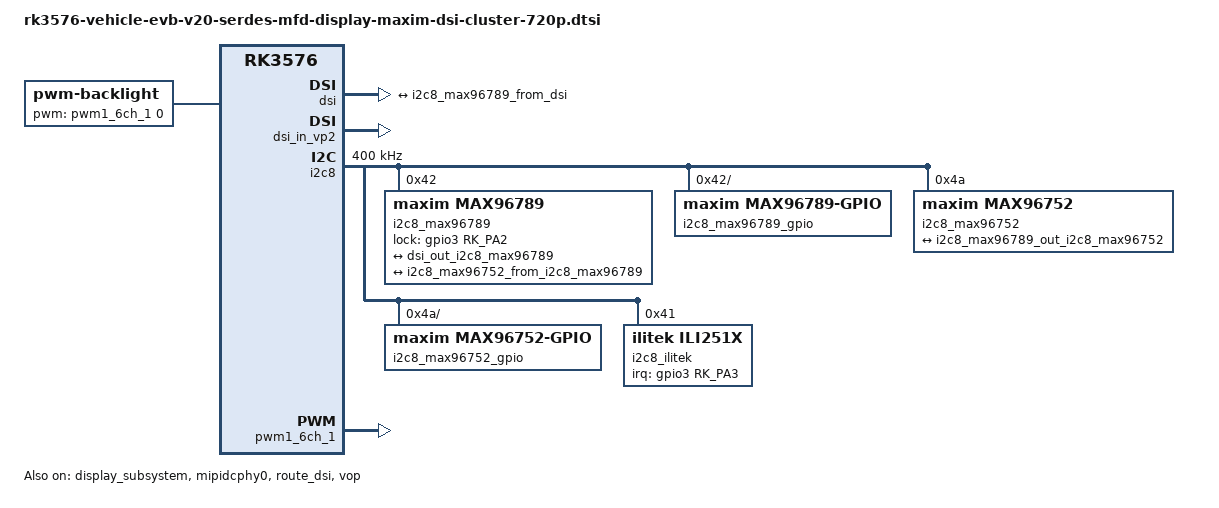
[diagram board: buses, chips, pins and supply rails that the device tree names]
// SPDX-License-Identifier: (GPL-2.0+ OR MIT)
/*
 * Copyright (c) 2025 Rockchip Electronics Co., Ltd.
 *
 */

/ {
	backlight: backlight {
		compatible = "pwm-backlight";
		pwms = <&pwm1_6ch_1 0 25000 0>;
		brightness-levels = <
			  0  20  20  21  21  22  22  23
			 23  24  24  25  25  26  26  27
			 27  28  28  29  29  30  30  31
			 31  32  32  33  33  34  34  35
			 35  36  36  37  37  38  38  39
			 40  41  42  43  44  45  46  47
			 48  49  50  51  52  53  54  55
			 56  57  58  59  60  61  62  63
			 64  65  66  67  68  69  70  71
			 72  73  74  75  76  77  78  79
			 80  81  82  83  84  85  86  87
			 88  89  90  91  92  93  94  95
			 96  97  98  99 100 101 102 103
			104 105 106 107 108 109 110 111
			112 113 114 115 116 117 118 119
			120 121 122 123 124 125 126 127
			128 129 130 131 132 133 134 135
			136 137 138 139 140 141 142 143
			144 145 146 147 148 149 150 151
			152 153 154 155 156 157 158 159
			160 161 162 163 164 165 166 167
			168 169 170 171 172 173 174 175
			176 177 178 179 180 181 182 183
			184 185 186 187 188 189 190 191
			192 193 194 195 196 197 198 199
			200 201 202 203 204 205 206 207
			208 209 210 211 212 213 214 215
			216 217 218 219 220 221 222 223
			224 225 226 227 228 229 230 231
			232 233 234 235 236 237 238 239
			240 241 242 243 244 245 246 247
			248 249 250 251 252 253 254 255
		>;
		default-brightness-level = <200>;
	    status = "okay";
	};
};

&display_subsystem {
	status = "okay";
};

/*
 * mipi_dcphy needs to be enabled
 * when dsi is enabled
 */
&dsi {
	status = "okay";

	ports {
		#address-cells = <1>;
		#size-cells = <0>;

		port@1 {
			reg = <1>;

			dsi_out_i2c8_max96789: endpoint {
				remote-endpoint = <&i2c8_max96789_from_dsi>;
			};
		};
	};
};

&dsi_in_vp2 {
	status = "okay";
};

&i2c8 {
	status = "okay";
	pinctrl-names = "default";
	pinctrl-0 = <&i2c8m2_xfer>;
	clock-frequency = <400000>;

	i2c8_max96789: i2c8-max96789@42 {
		compatible = "maxim,max96789";
		reg = <0x42>;
		pinctrl-names = "default";
		pinctrl-0 = <&i2c8_serdes_pins>;
		lock-gpios = <&gpio3 RK_PA2 GPIO_ACTIVE_HIGH>;
		sel-mipi;
		id-serdes-bridge-split = <0x01>;
		status = "okay";

		serdes-init-sequence = [
			//Independent 11_07_17-56 Using MAX96789/91/F (GMSL-1/2)
			//Disable Video pipe
			0002 0003
			//Set Stream for DSI Port A && assign pipeX
			0053 0010
			//Set Stream for DSI Port B && assign pipeY
			0057 0021
			//Clock Select, X for portA, Y/Z for PortB
			0308 0076
			//Start DSI-A Port
			0311 0001
			//Set Port A Lane Mapping
			0332 004E
			//Set Port B Lane Mapping
			0333 00E4
			//Set GMSL type
			0004 00F2
			//Number of Lanes
			0331 0033
			//Set phy_config
			0330 0006
			//Set soft_dtx_en
			031C 0098
			//Set soft_dtx
			0321 0024
			//Set soft_dty_en
			031D 0098
			//Set soft_dty_
			0322 0024
			//Init Default
			0326 00E4
			//HSYNC_WIDTH_L	 HSYNC=12
			0385 000C
			//VSYNC_WIDTH_L	 VSYNC=3
			0386 0003
			//HSYNC_WIDTH_H/VSYNC_WIDTH_H
			0387 0000
			//VFP_L	VFP=8
			03A5 0008
			//VBP_H
			03A7 0000
			//VBP_L/VFP_H VBP=5
			03A6 0050
			//VRES_L VRES=0X02D0=720
			03A8 00D0
			//VRES_H
			03A9 0002
			//HFP_L	 HFP=26
			03AA 001A
			//HBP_H
			03AC 0000
			//HBP_L/HFP_H(4bit)	HBP=12
			03AB 00C0
			//HRES_L HRES=0X0780=1920
			03AD 0080
			//HRES_H
			03AE 0007
			//Disable FIFO/DESKEW_EN
			03A4 00C1
			//Turn on video pipe
			0002 0033
			//Enable splitter mode  reset one shot
			0010 0021
			ffff f000	//0xf000 ms delay
		];

		i2c8_max96789_pinctrl: i2c8-max96789-pinctrl {
			compatible = "maxim,max96789-pinctrl";
			pinctrl-names = "init","sleep";
			pinctrl-0 = <&i2c8_max96789_pinctrl_pins>;
			pinctrl-1 = <&i2c8_max96789_pinctrl_pins>;
			status = "okay";
			i2c8_max96789_pinctrl_pins: pinctrl-pins {
				i2c {
					groups = "MAX96789_I2C";
					function = "MAX96789_I2C";
				};
				lcd-bl-pwm {
					pins = "MAX96789_MFP7";
					function = "SER_TXID4_TO_DES";
				};
				tp-int {
					pins = "MAX96789_MFP8";
					function = "DES_RXID8_TO_SER";
				};
			};

			i2c8_max96789_gpio: i2c8-max96789-gpio {
				compatible = "maxim,max96789-gpio";
				status = "okay";

				gpio-controller;
				#gpio-cells = <2>;
				gpio-ranges = <&i2c8_max96789_pinctrl 0 160 20>;
			};
		};

		i2c8_max96789_bridge: i2c8-max96789-bridge {
			compatible = "maxim,max96789-bridge";
			status = "okay";

			ports {
				#address-cells = <1>;
				#size-cells = <0>;

				port@0 {
					reg = <0>;
					i2c8_max96789_from_dsi: endpoint {
						remote-endpoint = <&dsi_out_i2c8_max96789>;
					};
				};

				port@1 {
					reg = <1>;
					i2c8_max96789_out_i2c8_max96752: endpoint {
						remote-endpoint = <&i2c8_max96752_from_i2c8_max96789>;
					};
				};
			};
		};

	};

	i2c8_max96752: i2c8-max96752@4a {
		compatible = "maxim,max96752";
		reg = <0x4a>;
		//reg-hw = <0x4a>;
		id-serdes-panel-split = <0x01>;
		link = <0x01>;
		status = "okay";

		serdes-init-sequence = [
			/*max96752 dual oLDI output*/
			0002 0043
			0073 0031
			007b 0031
			007d 0038

			0050 0000
			01ce 004e
			01ea 0004
		];

		i2c8_max96752_pinctrl: i2c8-max96752-pinctrl {
			compatible = "maxim,max96752-pinctrl";
			pinctrl-names = "init","sleep";
			pinctrl-0 = <&i2c8_max96752_panel_pins>;
			pinctrl-1 = <&i2c8_max96752_panel_sleep_pins>;
			status = "okay";

			i2c8_max96752_panel_pins: panel-pins {
				lcd-rst-pin {
					pins = "MAX96752_GPIO10";
					function = "DES_TXID10_OUTPUT_HIGH";
				};
				lcd-stbyb-pin {
					pins = "MAX96752_GPIO3";
					function = "DES_TXID3_OUTPUT_HIGH";
				};
				tp-rst {
					pins = "MAX96752_GPIO5";
					function = "DES_TXID5_OUTPUT_HIGH";
				};
				tp-int {
					pins = "MAX96752_GPIO2";
					function = "DES_TXID8_TO_SER";
				};
				lcd-bl-en {
					pins = "MAX96752_GPIO7";
					function = "DES_TXID7_OUTPUT_HIGH";
				};
				lcd-bl-pwm {
					pins = "MAX96752_GPIO4";
					function = "SER_TO_DES_RXID4";
				};
			};

			i2c8_max96752_panel_sleep_pins: panel-sleep-pins {
				lcd-stbyb-pin {
					pins = "MAX96752_GPIO3";
					function = "DES_TXID3_OUTPUT_LOW";
				};
				tp-rst {
					pins = "MAX96752_GPIO5";
					function = "DES_TXID5_OUTPUT_LOW";
				};
			};

			i2c8_max96752_gpio: i2c8-max96752-gpio {
				compatible = "maxim,max96752-gpio";
				status = "okay";

				gpio-controller;
				#gpio-cells = <2>;
				gpio-ranges = <&i2c8_max96752_pinctrl 0 180 15>;
			};
		};

		i2c8_max96752_panel: i2c8-max96752-panel {
			compatible = "maxim,max96752-panel";
			status = "okay";

			backlight = <&backlight>;
			panel-size= <346 194>;

			panel-timing {
				clock-frequency = <86995000>;
				hactive = <1920>;
				vactive = <720>;
				hfront-porch = <26>;
				hsync-len = <12>;
				hback-porch = <12>;
				vfront-porch = <8>;
				vsync-len = <3>;
				vback-porch = <5>;
				hsync-active = <0>;
				vsync-active = <0>;
				de-active = <0>;
				pixelclk-active = <0>;
			};

			ports {
				#address-cells = <1>;
				#size-cells = <0>;

				port@0 {
					reg = <0>;
					i2c8_max96752_from_i2c8_max96789: endpoint {
						remote-endpoint = <&i2c8_max96789_out_i2c8_max96752>;
					};
				};
			};
		};
	};

	i2c8_ilitek: i2c8-ilitek@41 {
		compatible = "ilitek,ili251x";
		reg = <0x41>;
		interrupt-parent = <&gpio3>;
		interrupts = <RK_PA3 IRQ_TYPE_LEVEL_LOW>;
		pinctrl-names = "default";
		pinctrl-0 = <&touch_gpio_dsi>;
		ilitek,name = "ilitek_i2c";
		status = "okay";
	};
};

&pinctrl {
	serdes {
		/*dsi-serdes*/
		i2c8_serdes_pins: i2c8-serdes-pins {
			rockchip,pins =
				<2 RK_PD7 RK_FUNC_GPIO &pcfg_pull_up>,/*err*/
				<3 RK_PA2 RK_FUNC_GPIO &pcfg_pull_up>;/*lock*/
		};

		/*dsi-touch*/
		touch_gpio_dsi: touch-gpio-dsi {
			rockchip,pins =
				<3 RK_PA3 RK_FUNC_GPIO &pcfg_pull_up>;/*irq*/
		};
	};
};

&mipidcphy0 {
	status = "okay";
};

/* dsi->serdes->lvds_panel */
&pwm1_6ch_1 {
	status = "okay";
	pinctrl-0 = <&pwm1m2_ch1>;
};

&route_dsi {
	status = "okay";
	connect = <&vp2_out_dsi>;
	logo,uboot = "logo.bmp";
	logo,kernel = "logo_kernel.bmp";
};

&vop_mmu1 {
	status = "okay";
};

&vop {
	status = "okay";
};

&vp0 {
	assigned-clocks = <&cru DCLK_VP0_SRC>;
	assigned-clock-parents = <&cru PLL_VPLL>;
};

&vp2 {
	assigned-clocks = <&cru DCLK_VP2_SRC>;
	assigned-clock-parents = <&cru PLL_VPLL>;
};
